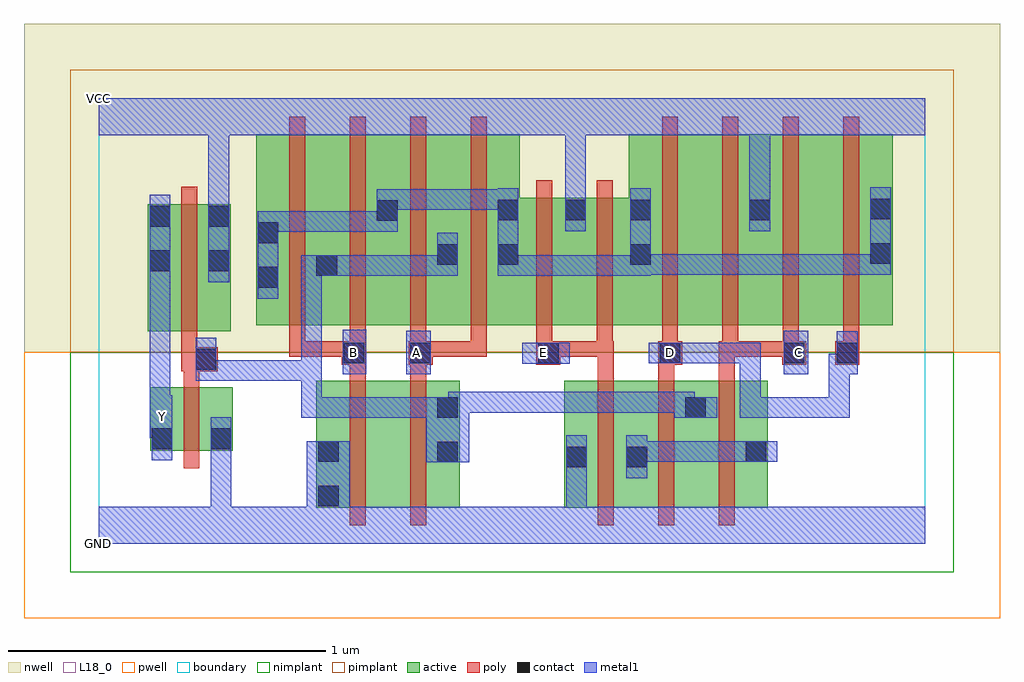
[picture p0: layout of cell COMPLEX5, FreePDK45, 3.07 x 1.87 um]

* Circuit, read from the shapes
.subckt COMPLEX5 A B C D E GND VCC Y
M1 GND n1 Y VSUBS nfet w=0.2u l=0.05u
M2 n2 B GND VSUBS nfet w=0.4u l=0.05u
M3 n1 A n2 VSUBS nfet w=0.4u l=0.05u
M4 n3 E GND VSUBS nfet w=0.4u l=0.05u
M5 n1 D n3 VSUBS nfet w=0.4u l=0.05u
M6 n3 C n1 VSUBS nfet w=0.4u l=0.05u
M7 VCC n1 Y n4 pfet w=0.4u l=0.05u
M8 n1 B n5 n4 pfet w=0.6u l=0.05u m=2
M9 n1 A n5 n4 pfet w=0.6u l=0.05u m=2
M10 VCC E n5 n4 pfet w=0.4u l=0.05u m=2
M11 n6 D n5 n4 pfet w=0.6u l=0.05u
M12 VCC C n6 n4 pfet w=0.6u l=0.05u
M13 n7 C VCC n4 pfet w=0.6u l=0.05u
M14 n5 D n7 n4 pfet w=0.6u l=0.05u
.ends

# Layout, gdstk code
import gdstk
lib = gdstk.Library(unit=1e-6, precision=1e-09)
def R(c, l, rs):  # rectangles x0, y0, x1, y1
    for r in rs: c.add(gdstk.rectangle(r[:2], r[2:], *l))
def A(c, l, x, y, w, h, nx, ny, dx, dy):  # array of equal rectangles
    R(c, l, [(x+i*dx, y+j*dy, x+i*dx+w, y+j*dy+h) for i in range(nx) for j in range(ny)])
active = (1, 0)
pwell = (2, 0)
nwell = (3, 0)
nimplant = (4, 0)
pimplant = (5, 0)
poly = (9, 0)
contact = (10, 0)
metal1 = (11, 0)
L18_0 = (18, 0)
boundary = (235, 0)

complex5 = lib.new_cell('COMPLEX5')
A(complex5, active, 0.68, 0.687, 0.265, 0.6, 3, 1, 0.19, 0)
R(complex5, active, [(0.685,0.112,0.76,0.512), (0.685,0.112,0.91,0.512), (0.91,0.112,1.135,0.512), (1.465,0.112,1.73,0.512), (1.465,0.112,1.54,0.512), (1.655,0.112,1.915,0.512), (1.84,0.112,2.105,0.512), (1.06,0.147,1.135,0.512), (1.655,0.147,1.73,0.492), (1.84,0.147,1.915,0.492), (2.03,0.147,2.105,0.512), (0.162,0.292,0.237,0.492), (0.162,0.292,0.422,0.492), (0.347,0.292,0.422,0.492), (0.155,0.667,0.415,1.067), (0.155,0.667,0.23,1.067), (0.34,0.667,0.415,1.067), (0.495,0.687,0.57,1.2), (0.495,0.687,0.755,1.287), (0.68,0.687,0.755,1.07), (1.06,0.687,1.135,1.07), (1.25,0.687,1.325,1.2), (1.25,0.687,1.537,1.087), (1.462,0.687,1.537,1.087), (1.462,0.687,1.742,1.087), (1.667,0.687,1.742,1.2), (1.667,0.687,1.892,1.287), (1.892,0.687,2.117,1.287), (2.042,0.687,2.272,1.287), (2.272,0.687,2.497,1.287), (2.422,0.687,2.497,1.2), (0.87,0.707,0.945,1.2), (2.042,0.707,2.117,1.257)])
R(complex5, pwell, [(-0.235,-0.235,2.835,0.602)])
R(complex5, nwell, [(-0.235,0.602,2.835,1.635)])
R(complex5, nimplant, [(-0.09,-0.09,2.69,0.602)])
R(complex5, pimplant, [(-0.09,0.602,2.69,1.49)])
A(complex5, poly, 1.57, 0.057, 0.05, 0.51, 3, 1, 0.19, 0)
A(complex5, poly, 0.6, 0.587, 0.05, 0.095, 4, 1, 0.19, 0)
A(complex5, poly, 1.772, 0.587, 0.05, 0.095, 4, 1, 0.19, 0)
A(complex5, poly, 0.6, 0.632, 0.05, 0.71, 4, 1, 0.19, 0)
A(complex5, poly, 1.772, 0.632, 0.05, 0.71, 4, 1, 0.19, 0)
R(complex5, poly, [(0.79,0.057,0.84,0.567), (0.98,0.057,1.03,0.567), (0.267,0.237,0.317,0.547), (0.267,0.497,0.317,0.592), (0.79,0.517,0.84,0.612), (0.98,0.517,1.03,0.612), (1.57,0.517,1.62,0.637), (1.76,0.517,1.81,0.612), (1.95,0.517,2,0.637), (0.26,0.542,0.375,0.617), (0.765,0.562,0.84,0.637), (0.975,0.562,1.05,0.637), (1.377,0.562,1.452,0.637), (1.76,0.562,1.835,0.637), (2.15,0.562,2.225,0.637), (2.317,0.562,2.392,0.637), (0.26,0.567,0.31,0.662), (0.6,0.587,0.65,0.637), (0.6,0.587,0.815,0.637), (0.765,0.587,0.815,0.637), (0.765,0.587,0.815,0.637), (1,0.587,1.05,0.637), (1,0.587,1.05,0.637), (1,0.587,1.22,0.637), (1.17,0.587,1.22,0.637), (1.377,0.587,1.427,0.682), (1.402,0.587,1.617,0.637), (1.567,0.587,1.617,0.682), (1.567,0.587,1.617,0.637), (1.567,0.587,1.617,0.637), (1.567,0.587,1.62,0.637), (1.95,0.587,2.012,0.637), (1.962,0.587,2.2,0.637), (2.15,0.587,2.2,0.637), (2.15,0.587,2.2,0.637), (0.26,0.612,0.31,1.122), (1.377,0.632,1.427,1.142), (1.567,0.632,1.617,1.142)])
R(complex5, contact, [(0.69,0.117,0.755,0.182), (1.47,0.24,1.535,0.305), (1.66,0.24,1.725,0.305), (1.065,0.255,1.13,0.32), (0.69,0.257,0.755,0.322), (2.035,0.257,2.1,0.322), (0.167,0.297,0.232,0.362), (0.352,0.297,0.417,0.362), (1.065,0.395,1.13,0.46), (1.845,0.395,1.91,0.46), (0.305,0.547,0.37,0.612), (0.77,0.567,0.835,0.632), (0.98,0.567,1.045,0.632), (1.382,0.567,1.447,0.632), (1.765,0.567,1.83,0.632), (2.155,0.567,2.22,0.632), (2.322,0.567,2.387,0.632), (0.5,0.805,0.565,0.87), (0.685,0.842,0.75,0.907), (0.16,0.857,0.225,0.922), (0.345,0.857,0.41,0.922), (1.065,0.877,1.13,0.942), (1.255,0.877,1.32,0.942), (1.672,0.877,1.737,0.942), (2.427,0.88,2.492,0.945), (0.5,0.945,0.565,1.01), (0.16,0.997,0.225,1.062), (0.345,0.997,0.41,1.062), (0.875,1.015,0.94,1.08), (1.255,1.017,1.32,1.082), (1.467,1.017,1.532,1.082), (1.672,1.017,1.737,1.082), (2.047,1.017,2.112,1.082), (2.427,1.02,2.492,1.085)])
R(complex5, metal1, [(0,0,2.6,0.115), (0.352,0.05,0.417,0.327), (0.725,0.05,0.79,0.182), (1.47,0.05,1.535,0.27), (0.655,0.117,0.79,0.322), (1.47,0.205,1.535,0.34), (1.66,0.205,1.725,0.34), (1.03,0.255,1.165,0.46), (1.66,0.257,1.927,0.322), (1.862,0.257,1.927,0.322), (1.862,0.257,1.927,0.322), (1.862,0.257,1.927,0.322), (1.862,0.257,2.065,0.322), (2,0.257,2.065,0.322), (2,0.257,2.065,0.322), (2,0.257,2.135,0.322), (0.167,0.262,0.232,0.397), (0.352,0.262,0.417,0.327), (0.352,0.262,0.417,0.327), (0.352,0.262,0.417,0.327), (0.352,0.262,0.417,0.327), (0.352,0.262,0.417,0.397), (0.16,0.332,0.232,0.467), (0.167,0.332,0.232,0.397), (0.637,0.395,0.702,0.46), (0.637,0.395,0.702,0.46), (0.637,0.395,0.702,0.46), (0.637,0.395,0.942,0.46), (0.637,0.395,0.702,0.577), (0.877,0.395,0.942,0.46), (0.877,0.395,0.942,0.46), (0.877,0.395,0.942,0.46), (0.877,0.395,1.095,0.46), (1.1,0.395,1.165,0.46), (1.1,0.395,1.165,0.477), (1.81,0.395,1.875,0.46), (1.81,0.395,1.945,0.46), (1.81,0.395,1.875,0.477), (2.017,0.395,2.082,0.46), (2.017,0.395,2.217,0.46), (2.017,0.395,2.082,0.632), (2.152,0.395,2.217,0.46), (2.152,0.395,2.362,0.46), (2.297,0.395,2.362,0.46), (2.297,0.395,2.362,0.597), (0.16,0.402,0.225,0.887), (1.1,0.412,1.312,0.477), (1.247,0.412,1.312,0.477), (1.247,0.412,1.52,0.477), (1.455,0.412,1.52,0.477), (1.455,0.412,1.52,0.477), (1.455,0.412,1.52,0.477), (1.455,0.412,1.657,0.477), (1.592,0.412,1.657,0.477), (1.592,0.412,1.657,0.477), (1.592,0.412,1.657,0.477), (1.592,0.412,1.875,0.477), (0.305,0.512,0.37,0.577), (0.305,0.512,0.37,0.577), (0.305,0.512,0.37,0.647), (0.305,0.512,0.565,0.577), (0.5,0.512,0.565,0.577), (0.5,0.512,0.565,0.577), (0.5,0.512,0.565,0.577), (0.5,0.512,0.702,0.577), (0.637,0.512,0.702,0.577), (0.637,0.512,0.702,0.907), (0.767,0.532,0.842,0.672), (0.967,0.532,1.045,0.67), (2.155,0.532,2.232,0.67), (2.297,0.532,2.362,0.597), (2.297,0.532,2.387,0.597), (2.322,0.532,2.387,0.667), (1.332,0.565,1.482,0.632), (1.73,0.567,1.867,0.632), (1.802,0.567,1.875,0.632), (1.81,0.567,1.875,0.632), (1.81,0.567,2.08,0.632), (2.015,0.567,2.08,0.632), (2.015,0.567,2.08,0.632), (2.015,0.567,2.082,0.632), (0.5,0.77,0.565,1.045), (0.16,0.822,0.225,1.097), (0.345,0.822,0.41,1.097), (0.637,0.842,0.785,0.907), (0.72,0.842,0.785,0.907), (0.72,0.842,0.785,0.907), (0.72,0.842,0.957,0.907), (0.892,0.842,0.957,0.907), (0.892,0.842,0.957,0.907), (0.892,0.842,0.957,0.907), (0.892,0.842,1.13,0.907), (1.065,0.842,1.13,0.977), (1.255,0.842,1.32,0.907), (1.255,0.842,1.32,0.907), (1.255,0.842,1.32,1.117), (1.255,0.842,1.457,0.907), (1.392,0.842,1.457,0.907), (1.392,0.842,1.457,0.907), (1.392,0.842,1.457,0.907), (1.392,0.842,1.657,0.907), (1.592,0.842,1.657,0.907), (1.592,0.842,1.737,0.907), (1.672,0.842,1.737,1.117), (1.672,0.845,1.875,0.91), (1.81,0.845,1.875,0.91), (1.81,0.845,1.875,0.91), (1.81,0.845,1.875,0.91), (1.81,0.845,2.08,0.91), (2.015,0.845,2.08,0.91), (2.015,0.845,2.217,0.91), (2.152,0.845,2.217,0.91), (2.152,0.845,2.217,0.91), (2.152,0.845,2.217,0.91), (2.152,0.845,2.355,0.91), (2.29,0.845,2.355,0.91), (2.29,0.845,2.492,0.91), (2.427,0.845,2.492,0.91), (2.427,0.845,2.492,0.91), (2.427,0.845,2.492,1.12), (0.5,0.98,0.565,1.045), (0.5,0.98,0.565,1.045), (0.5,0.98,0.702,1.045), (0.637,0.98,0.702,1.045), (0.637,0.98,0.702,1.045), (0.637,0.98,0.702,1.045), (0.637,0.98,0.94,1.045), (0.875,0.98,0.94,1.115), (1.467,0.982,1.532,1.117), (2.047,0.982,2.112,1.117), (0.345,1.032,0.41,1.097), (0.345,1.032,0.41,1.097), (0.345,1.032,0.41,1.35), (0.875,1.05,0.94,1.115), (0.875,1.05,0.94,1.115), (0.875,1.05,1.175,1.115), (1.11,1.05,1.175,1.115), (1.11,1.05,1.175,1.115), (1.11,1.05,1.175,1.115), (1.11,1.05,1.32,1.115), (1.467,1.052,1.532,1.117), (1.467,1.052,1.532,1.117), (1.467,1.052,1.532,1.35), (2.047,1.052,2.112,1.35), (0,1.285,2.6,1.4)])
A(complex5, L18_0, 0.967, 0.567, 0.065, 0.065, 3, 1, 0.4, 0)
R(complex5, L18_0, [(0,0,2.6,0.115), (0.352,0.05,0.417,0.327), (0.725,0.05,0.79,0.182), (1.47,0.05,1.535,0.27), (0.655,0.117,0.79,0.322), (1.47,0.205,1.535,0.34), (0.167,0.262,0.232,0.397), (0.352,0.262,0.417,0.397), (0.352,0.262,0.417,0.327), (0.352,0.262,0.417,0.327), (0.352,0.262,0.417,0.327), (0.352,0.262,0.417,0.327), (0.16,0.332,0.232,0.467), (0.167,0.332,0.232,0.397), (0.167,0.367,0.232,0.432), (2.017,0.395,2.082,0.46), (2.017,0.395,2.082,0.632), (2.017,0.395,2.217,0.46), (2.152,0.395,2.217,0.46), (2.152,0.395,2.362,0.46), (2.297,0.395,2.362,0.46), (2.297,0.395,2.362,0.597), (0.16,0.402,0.225,0.887), (0.767,0.532,0.842,0.672), (0.967,0.532,1.045,0.67), (2.155,0.532,2.232,0.67), (2.297,0.532,2.362,0.597), (2.297,0.532,2.387,0.597), (2.322,0.532,2.387,0.667), (1.332,0.565,1.482,0.632), (0.767,0.567,0.832,0.632), (1.73,0.567,1.867,0.632), (1.802,0.567,1.875,0.632), (1.81,0.567,1.875,0.632), (1.81,0.567,2.08,0.632), (2.015,0.567,2.08,0.632), (2.015,0.567,2.08,0.632), (2.015,0.567,2.082,0.632), (2.167,0.567,2.232,0.632), (0.16,0.822,0.225,1.097), (0.345,0.822,0.41,1.097), (1.467,0.982,1.532,1.117), (2.047,0.982,2.112,1.117), (0.345,1.032,0.41,1.097), (0.345,1.032,0.41,1.097), (0.345,1.032,0.41,1.35), (1.467,1.052,1.532,1.117), (1.467,1.052,1.532,1.117), (1.467,1.052,1.532,1.35), (2.047,1.052,2.112,1.35), (0,1.285,2.6,1.4)])
R(complex5, boundary, [(0,0,2.6,1.4)])
complex5.add(gdstk.Label('A', (1,0.6), layer=11, texttype=0))
complex5.add(gdstk.Label('B', (0.8,0.6), layer=11, texttype=0))
complex5.add(gdstk.Label('C', (2.2,0.6), layer=11, texttype=0))
complex5.add(gdstk.Label('D', (1.8,0.6), layer=11, texttype=0))
complex5.add(gdstk.Label('E', (1.4,0.6), layer=11, texttype=0))
complex5.add(gdstk.Label('Y', (0.2,0.4), layer=11, texttype=0))
complex5.add(gdstk.Label('VCC', (0,1.4), layer=11, texttype=0))
complex5.add(gdstk.Label('GND', (0,0), layer=11, texttype=0))

lib.write_gds('COMPLEX5.gds')
